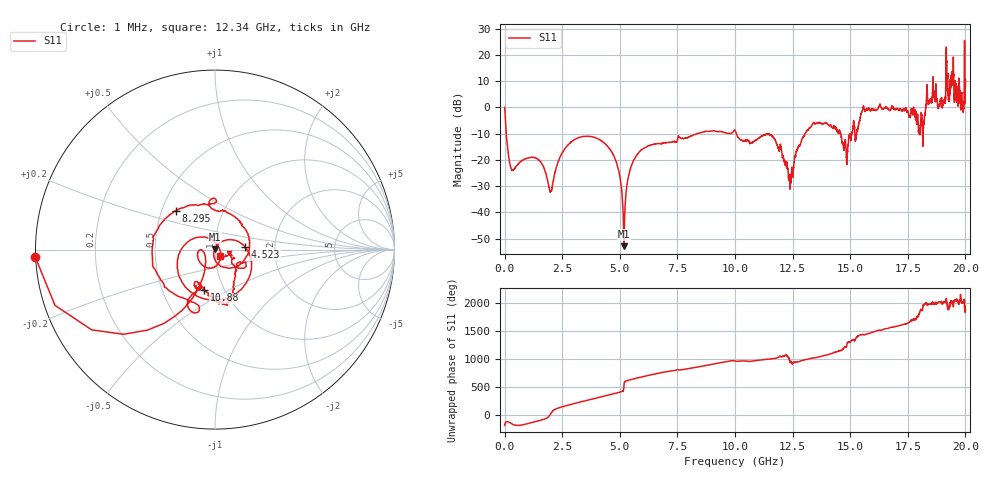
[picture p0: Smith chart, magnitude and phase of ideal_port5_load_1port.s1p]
! Created with skrf 1.8.0 (http://scikit-rf.org).
# GHz S RI R 50.0
!freq ReS11 ImS11
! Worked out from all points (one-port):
!   10001 points, 1 MHz to 20 GHz, reference 50 ohm
!   lowest |S11| = -52.9 dB at 5.177 GHz (marker M1), VSWR 1.00, Z = 49.8 + j0.118 ohm
!   |S11| at or under -10 dB: 69.72 MHz to 8.379 GHz (8.309 GHz wide, 197 % of centre); 10.06 GHz to 11.43 GHz (1.366 GHz wide, 12.7 % of centre); 11.44 GHz to 13.04 GHz (1.601 GHz wide, 13.1 % of centre) (the widest 3 of 13)
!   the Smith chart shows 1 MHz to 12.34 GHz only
!   S11 on the Smith chart (normalised r, x): 1 MHz: -0.00, -0.02; 4.523 GHz: 1.41, +0.04; 8.295 GHz: 0.59, +0.28; 10.88 GHz: 0.80, -0.38; 12.34 GHz: 1.05, -0.09
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0.001  -1.002 -0.0407
0.3469827  -0.0589 -0.0238
2.500875  -0.1208 0.0609
4.522774  0.1693 0.0131
5.00075  0.0294 0.0391
5.176741  -0.00193 0.00119
5.79471  0.0831 -0.1034
7.500625  -0.0242 0.235
8.294585  -0.2195 0.2168
10.0005  -0.1392 -0.3383
10.88446  -0.0611 -0.2261
12.33838  0.0243 -0.0412
12.50038  -0.0569 -0.0245
13.41433  0.2842 -0.4261
15.00025  -0.2164 -0.1828
15.62422  0.8614 -0.0951
16.32618  0.2591 1.004
17.50013  -0.7544 -0.2992
17.76211  -0.0744 -0.7988
18.12609  0.1289 0.4838
18.63807  -1.702 -0.5261
19.03805  -1.13 -0.6272
19.11404  -1.079 -0.6529
19.28404  -0.3451 1.363
19.47203  -2.626 -2.439
19.59402  -0.525 -1.858
19.86201  -1.184 -0.6228
20  1.089 3.227
